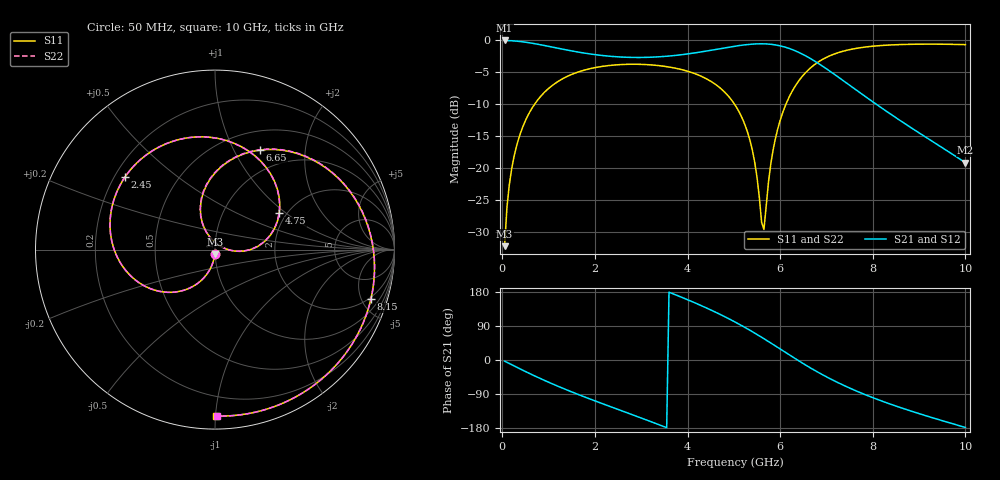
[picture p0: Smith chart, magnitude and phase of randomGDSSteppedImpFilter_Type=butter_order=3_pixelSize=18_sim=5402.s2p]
! freq	dB(S11)	phase(S11)	dB(S12)	phase(S12)
!  dB(S21)	phase(S21)	dB(S22)	phase(S22)
!S-par simulation data
#  GHz  S  DB  R 50
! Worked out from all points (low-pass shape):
!   200 points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, 50 MHz to 10 GHz, reference 50 ohm
!   highest |S21| = 0.00 dB at 50 MHz (marker M1); lowest = -19.1 dB at 10 GHz (marker M2)
!   |S21| within 3 dB of the highest: start of sweep to 6.694 GHz
!   lowest |S11| = -32.1 dB at 50 MHz (marker M3), VSWR 1.05, Z = 49.8 - j2.46 ohm
!   |S11| at or under -10 dB: start of sweep to 694.5 MHz; 5.018 GHz to 6.123 GHz (1.106 GHz wide, 19.9 % of centre)
!   |S22| runs from -32.1 to -0.6 dB; largest |S21 - S12| = 0
!   S11 on the Smith chart (normalised r, x): 50 MHz: 1.00, -0.05; 2.45 GHz: 0.24, +0.33; 4.75 GHz: 1.83, +0.89; 6.65 GHz: 0.72, +1.27; 8.15 GHz: 1.81, -5.89; 10 GHz: 0.08, -1.00
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0.05  -32.14 -93.0  -0.00 -3.1  -0.00 -3.1  -32.14 -93.0
0.1  -26.13 -96.1  -0.01 -6.2  -0.01 -6.2  -26.13 -96.1
0.2  -20.16 -102.4  -0.05 -12.3  -0.05 -12.3  -20.16 -102.3
0.5  -12.52 -120.6  -0.28 -30.4  -0.28 -30.4  -12.52 -120.6
1.1  -6.92 -154.4  -1.07 -64.0  -1.07 -64.0  -6.92 -154.3
1.75  -4.68 173.2  -1.95 -96.2  -1.95 -96.2  -4.68 173.3
2.45  -3.82 141.1  -2.54 -128.3  -2.54 -128.3  -3.82 141.3
3.4  -3.95 98.2  -2.55 -171.5  -2.55 -171.5  -3.95 98.4
4.15  -5.17 61.8  -1.95 151.3  -1.95 151.3  -5.16 62.0
4.75  -7.72 29.5  -1.23 117.6  -1.23 117.6  -7.72 29.8
5.05  -10.36 12.4  -0.87 98.7  -0.87 98.7  -10.36 12.7
5.4  -17.15 -4.1  -0.58 74.7  -0.58 74.7  -17.15 -3.7
5.65  -29.52 71.8  -0.53 56.2  -0.53 56.2  -29.50 72.0
5.8  -19.21 116.2  -0.60 44.7  -0.60 44.7  -19.21 116.5
6  -12.49 110.0  -0.84 29.1  -0.84 29.1  -12.49 110.3
6.65  -4.32 65.8  -2.81 -20.6  -2.81 -20.6  -4.32 66.2
6.7  -4.02 62.4  -3.03 -24.1  -3.03 -24.1  -4.02 62.8
7.45  -1.52 16.7  -6.74 -71.3  -6.74 -71.3  -1.52 17.1
8.15  -0.81 -17.7  -10.34 -106.3  -10.34 -106.3  -0.81 -17.3
8.35  -0.72 -26.4  -11.34 -115.2  -11.34 -115.2  -0.72 -26.0
9.2  -0.58 -60.2  -15.37 -149.1  -15.37 -149.1  -0.58 -59.8
10  -0.66 -89.6  -19.11 -178.0  -19.11 -178.0  -0.65 -89.2
